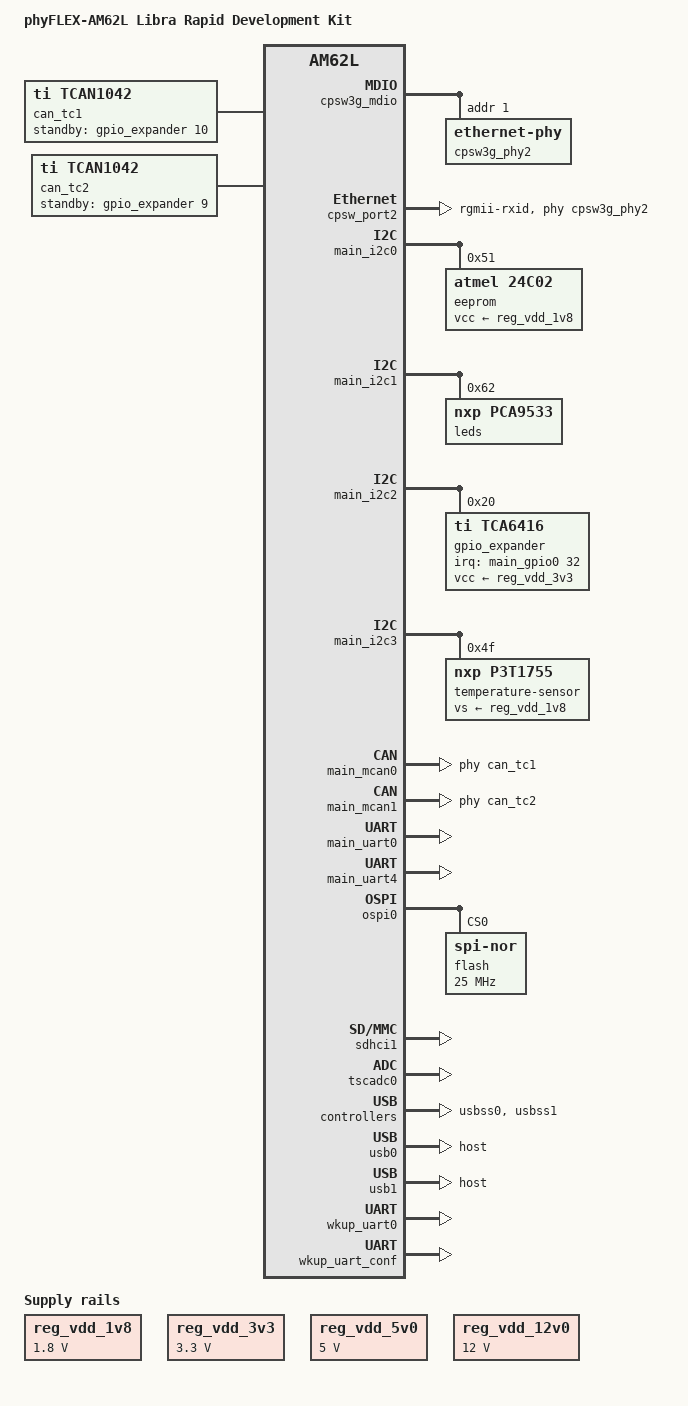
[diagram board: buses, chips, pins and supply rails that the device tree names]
// SPDX-License-Identifier: GPL-2.0-only OR MIT
/*
 * Copyright (C) 2025 PHYTEC Messtechnik GmbH
 * Author: Dominik Haller <d.haller@phytec.de>
 *
 * Product homepage:
 * https://www.phytec.eu/en/produkte/development-kits/phyflex-am62l-fpsc-kit/
 */

/dts-v1/;

#include <dt-bindings/pwm/pwm.h>
#include <dt-bindings/leds/leds-pca9532.h>
#include "k3-am62l3.dtsi"
#include "k3-am62l-phyflex-fpsc-g-som.dtsi"

/ {
	model = "phyFLEX-AM62L Libra Rapid Development Kit";
	compatible = "phytec,am62l3-phyflex-libra-rdk",
		     "phytec,am62l-phyflex-fpsc-g", "ti,am62l3";

	aliases {
		ethernet1 = &cpsw_port2;
		mmc1 = &sdhci1;
		serial1 = &main_uart4;
		serial2 = &wkup_uart0;
		serial3 = &main_uart0;
		i2c2 = &main_i2c0;
		i2c3 = &main_i2c1;
		i2c4 = &main_i2c2;
	};

	chosen {
		stdout-path = &main_uart0;
	};

	can_tc1: can-phy0 {
		compatible = "ti,tcan1042";
		#phy-cells = <0>;
		max-bitrate = <8000000>;
		standby-gpios = <&gpio_expander 10 GPIO_ACTIVE_HIGH>;
	};

	can_tc2: can-phy1 {
		compatible = "ti,tcan1042";
		#phy-cells = <0>;
		max-bitrate = <8000000>;
		standby-gpios = <&gpio_expander 9 GPIO_ACTIVE_HIGH>;
	};

	reg_vdd_1v8: regulator-vdd-1v8 {
		compatible = "regulator-fixed";
		regulator-always-on;
		regulator-boot-on;
		regulator-min-microvolt = <1800000>;
		regulator-max-microvolt = <1800000>;
		regulator-name = "VDD_1V8";
	};

	reg_vdd_3v3: regulator-vdd-3v3 {
		compatible = "regulator-fixed";
		regulator-always-on;
		regulator-boot-on;
		regulator-min-microvolt = <3300000>;
		regulator-max-microvolt = <3300000>;
		regulator-name = "VDD_3V3";
	};

	reg_vdd_5v0: regulator-vdd-5v0 {
		compatible = "regulator-fixed";
		regulator-always-on;
		regulator-boot-on;
		regulator-max-microvolt = <5000000>;
		regulator-min-microvolt = <5000000>;
		regulator-name = "VDD_5V0";
	};

	reg_vdd_12v0: regulator-12v0 {
		compatible = "regulator-fixed";
		regulator-always-on;
		regulator-boot-on;
		regulator-max-microvolt = <12000000>;
		regulator-min-microvolt = <12000000>;
		regulator-name = "VDD_12V0";
	};
};

&pmx0 {
	gpio_expander_pins_default: gpio-expander-default-pins {
		pinctrl-single,pins = <
			AM62LX_IOPAD(0x00c0, PIN_INPUT, 7) /* (N19) GPMC0_ADVn_ALE.GPIO0_32 */
		>;
	};

	main_i2c0_pins_default: main-i2c0-default-pins {
		pinctrl-single,pins = <
			AM62LX_IOPAD(0x01cc, PIN_INPUT, 0) /* (B7) I2C0_SCL */
			AM62LX_IOPAD(0x01d0, PIN_INPUT, 0) /* (A7) I2C0_SDA */
		>;
	};

	main_i2c1_pins_default: main-i2c1-default-pins {
		pinctrl-single,pins = <
			AM62LX_IOPAD(0x01d4, PIN_INPUT, 0) /* (D7) I2C1_SCL */
			AM62LX_IOPAD(0x01d8, PIN_INPUT, 0) /* (A6) I2C1_SDA */
		>;
	};

	main_i2c2_pins_default: main-i2c2-default-pins {
		pinctrl-single,pins = <
			AM62LX_IOPAD(0x01dc, PIN_INPUT, 0) /* (B8) I2C2_SCL */
			AM62LX_IOPAD(0x01e0, PIN_INPUT, 0) /* (D8) I2C2_SDA */
		>;
	};

	main_i2c3_pins_default: main-i2c3-default-pins {
		pinctrl-single,pins = <
			AM62LX_IOPAD(0x0078, PIN_INPUT, 4) /* (L22) GPMC0_AD0.I2C3_SCL */
			AM62LX_IOPAD(0x007c, PIN_INPUT, 4) /* (L23) GPMC0_AD1.I2C3_SDA */
		>;
	};

	main_mcan0_pins_default: main-mcan0-pins-default {
		pinctrl-single,pins = <
			AM62LX_IOPAD(0x01c8, PIN_INPUT, 0) /* (B15) MCAN0_RX */
			AM62LX_IOPAD(0x01c4, PIN_OUTPUT, 0) /* (B16) MCAN0_TX */
		>;
	};

	main_mcan1_pins_default: main-mcan1-pins-default {
		pinctrl-single,pins = <
			AM62LX_IOPAD(0x0180, PIN_INPUT, 5) /* (A8) MCASP0_AXR3.MCAN1_RX */
			AM62LX_IOPAD(0x0184, PIN_OUTPUT, 5) /* (B10) MCASP0_AXR2.MCAN1_TX */
		>;
	};

	main_mmc1_pins_default: main-mmc1-default-pins {
		pinctrl-single,pins = <
			AM62LX_IOPAD(0x0230, PIN_INPUT, 0) /* (Y3) MMC1_CMD */
			AM62LX_IOPAD(0x0228, PIN_OUTPUT, 0) /* (Y2) MMC1_CLK */
			AM62LX_IOPAD(0x0224, PIN_INPUT, 0) /* (AA1) MMC1_DAT0 */
			AM62LX_IOPAD(0x0220, PIN_INPUT, 0) /* (Y4) MMC1_DAT1 */
			AM62LX_IOPAD(0x021c, PIN_INPUT, 0) /* (AA2) MMC1_DAT2 */
			AM62LX_IOPAD(0x0218, PIN_INPUT, 0) /* (AB2) MMC1_DAT3 */
			AM62LX_IOPAD(0x0234, PIN_INPUT, 0) /* (B6) MMC1_SDCD */
		>;
		bootph-all;
	};

	main_uart0_pins_default: main-uart0-default-pins {
		pinctrl-single,pins = <
			AM62LX_IOPAD(0x01b4, PIN_INPUT, 0)      /* (D13) UART0_RXD */
			AM62LX_IOPAD(0x01b8, PIN_OUTPUT, 0)     /* (C13) UART0_TXD */
		>;
		bootph-all;
	};

	main_uart4_pins_default: main-uart4-default-pins {
		pinctrl-single,pins = <
			AM62LX_IOPAD(0x0094, PIN_INPUT, 2) /* (J22) GPMC0_AD7.UART4_CTSn */
			AM62LX_IOPAD(0x0090, PIN_OUTPUT, 2) /* (H23) GPMC0_AD6.UART4_RTSn */
			AM62LX_IOPAD(0x00ec, PIN_INPUT, 3) /* (M23) GPMC0_CSn2.UART4_RXD */
			AM62LX_IOPAD(0x00f0, PIN_OUTPUT, 3) /* (M22) GPMC0_CSn3.UART4_TXD */
		>;
	};

	ospi_pins_default: ospi-default-pins {
		pinctrl-single,pins = <
			AM62LX_IOPAD(0x003c, PIN_OUTPUT, 0) /* (D22) OSPI0_CLK */
			AM62LX_IOPAD(0x0068, PIN_OUTPUT, 0) /* (C20) OSPI0_CSn0 */
			AM62LX_IOPAD(0x0048, PIN_INPUT, 0) /* (C22) OSPI0_D0 */
			AM62LX_IOPAD(0x004c, PIN_INPUT, 0) /* (D21) OSPI0_D1 */
			AM62LX_IOPAD(0x0050, PIN_INPUT, 0) /* (E23) OSPI0_D2 */
			AM62LX_IOPAD(0x0054, PIN_INPUT, 0) /* (D23) OSPI0_D3 */
			AM62LX_IOPAD(0x0044, PIN_INPUT, 0) /* (E22) OSPI0_DQS */
		>;
		bootph-all;
	};

	rgmii2_pins_default: rgmii2-default-pins {
		pinctrl-single,pins = <
			AM62LX_IOPAD(0x0170, PIN_INPUT, 0) /* (AB9) RGMII2_RD0 */
			AM62LX_IOPAD(0x0174, PIN_INPUT, 0) /* (AC9) RGMII2_RD1 */
			AM62LX_IOPAD(0x0178, PIN_INPUT, 0) /* (AB10) RGMII2_RD2 */
			AM62LX_IOPAD(0x017c, PIN_INPUT, 0) /* (AB8) RGMII2_RD3 */
			AM62LX_IOPAD(0x016c, PIN_INPUT, 0) /* (AC7) RGMII2_RXC */
			AM62LX_IOPAD(0x0168, PIN_INPUT, 0) /* (AC8) RGMII2_RX_CTL */
			AM62LX_IOPAD(0x0158, PIN_OUTPUT, 0) /* (AC12) RGMII2_TD0 */
			AM62LX_IOPAD(0x015c, PIN_OUTPUT, 0) /* (AB13) RGMII2_TD1 */
			AM62LX_IOPAD(0x0160, PIN_OUTPUT, 0) /* (AA12) RGMII2_TD2 */
			AM62LX_IOPAD(0x0164, PIN_OUTPUT, 0) /* (AA13) RGMII2_TD3 */
			AM62LX_IOPAD(0x0154, PIN_OUTPUT, 0) /* (Y13) RGMII2_TXC */
			AM62LX_IOPAD(0x0150, PIN_OUTPUT, 0) /* (AB12) RGMII2_TX_CTL */
		>;
	};

	wkup_uart0_pins_default: wkup-uart0-default-pins {
		pinctrl-single,pins = <
			AM62LX_IOPAD(0x0008, PIN_INPUT, 0) /* (W23) WKUP_UART0_CTSn */
			AM62LX_IOPAD(0x000c, PIN_OUTPUT, 0) /* (W22) WKUP_UART0_RTSn */
			AM62LX_IOPAD(0x0000, PIN_INPUT, 0) /* (Y22) WKUP_UART0_RXD */
			AM62LX_IOPAD(0x0004, PIN_OUTPUT, 0) /* (AA23) WKUP_UART0_TXD */
		>;
	};
};

&cpsw3g {
	pinctrl-names = "default";
	pinctrl-0 = <&rgmii1_pins_default>,
		    <&rgmii2_pins_default>;
};

&cpsw3g_mdio {
	cpsw3g_phy2: ethernet-phy@1 {
		reg = <1>;
		ti,clk-output-sel = <DP83867_CLK_O_SEL_OFF>;
		ti,fifo-depth = <DP83867_PHYCR_FIFO_DEPTH_4_B_NIB>;
		ti,min-output-impedance;
		ti,rx-internal-delay = <DP83867_RGMIIDCTL_2_00_NS>;
	};
};

&cpsw_port2 {
	phy-mode = "rgmii-rxid";
	phy-handle = <&cpsw3g_phy2>;
};

&i2c_som_rtc {
	aux-voltage-chargeable = <1>;
	trickle-resistor-ohms = <3000>;
};

&main_i2c0 {
	pinctrl-names = "default";
	pinctrl-0 = <&main_i2c0_pins_default>;
	status = "okay";

	eeprom@51 {
		compatible = "atmel,24c02";
		reg = <0x51>;
		pagesize = <16>;
		vcc-supply = <&reg_vdd_1v8>;
	};
};

&main_i2c1 {
	pinctrl-names = "default";
	pinctrl-0 = <&main_i2c1_pins_default>;
	status = "okay";

	leds@62 {
		compatible = "nxp,pca9533";
		reg = <0x62>;

		led-1 {
			type = <PCA9532_TYPE_LED>;
		};

		led-2 {
			type = <PCA9532_TYPE_LED>;
		};

		led-3 {
			type = <PCA9532_TYPE_LED>;
		};
	};
};

&main_i2c2 {
	pinctrl-names = "default";
	pinctrl-0 = <&main_i2c2_pins_default>;
	status = "okay";

	gpio_expander: gpio@20 {
		compatible = "ti,tca6416";
		reg = <0x20>;
		pinctrl-names = "default";
		pinctrl-0 = <&gpio_expander_pins_default>;
		#gpio-cells = <2>;
		gpio-controller;
		gpio-line-names = "CSI1_CTRL1", "CSI1_CTRL2", "CSI1_CTRL3",
				  "CSI1_CTRL4", "CSI2_CTRL1", "CSI2_CTRL2",
				  "CSI2_CTRL3", "CSI2_CTRL4", "CLK_EN_AV",
				  "nCAN2_EN", "nCAN1_EN", "PCIE1_nWAKE",
				  "PCIE2_nWAKE", "PCIE2_nALERT_3V3",
				  "UART1_BT_RS_SEL", "UART1_RS232_485_SEL";
		interrupt-parent = <&main_gpio0>;
		interrupts = <32 IRQ_TYPE_EDGE_FALLING>;
		vcc-supply = <&reg_vdd_3v3>;
	};

};

&main_i2c3 {
	pinctrl-names = "default";
	pinctrl-0 = <&main_i2c3_pins_default>;
	status = "okay";

	temperature-sensor@4f {
		compatible = "nxp,p3t1755";
		reg = <0x4f>;
		vs-supply = <&reg_vdd_1v8>;
	};
};

&main_mcan0 {
	pinctrl-names = "default";
	pinctrl-0 = <&main_mcan0_pins_default>;
	phys = <&can_tc1>;
	status = "okay";
};

&main_mcan1 {
	pinctrl-names = "default";
	pinctrl-0 = <&main_mcan1_pins_default>;
	phys = <&can_tc2>;
	status = "okay";
};

&main_uart0 {
	pinctrl-names = "default";
	pinctrl-0 = <&main_uart0_pins_default>;
	bootph-all;
	status = "okay";
};

&main_uart4 {
	pinctrl-names = "default";
	pinctrl-0 = <&main_uart4_pins_default>;
	uart-has-rtscts;
	rs485-rts-active-low;
	status = "okay";
};

&ospi0 {
	pinctrl-names = "default";
	pinctrl-0 = <&ospi_pins_default>;
	status = "okay";

	flash@0 {
		compatible = "jedec,spi-nor";
		reg = <0x0>;
		spi-tx-bus-width = <4>;
		spi-rx-bus-width = <4>;
		spi-max-frequency = <25000000>;
		cdns,tshsl-ns = <60>;
		cdns,tsd2d-ns = <60>;
		cdns,tchsh-ns = <60>;
		cdns,tslch-ns = <60>;
		cdns,read-delay = <4>;
		bootph-all;
	};
};

&sdhci1 {
	pinctrl-names = "default";
	pinctrl-0 = <&main_mmc1_pins_default>;
	bootph-all;
	no-1-8-v;
	status = "okay";
};

&tscadc0 {
	status = "okay";

	adc {
		ti,adc-channels = <0 1 2 3>;
	};
};

/* Type-C Connector */
&usbss0 {
	ti,vbus-divider;
	status = "okay";
};

&usb0 {
	dr_mode = "host";
};

/* 4-port Type-A HUB */
&usbss1 {
	ti,vbus-divider;
	status = "okay";
};

&usb1 {
	dr_mode = "host";
};

&wkup_uart0 {
	pinctrl-names = "default";
	pinctrl-0 = <&wkup_uart0_pins_default>;
	uart-has-rtscts;
	status = "okay";
};

&wkup_uart_conf {
	status = "okay";
};
